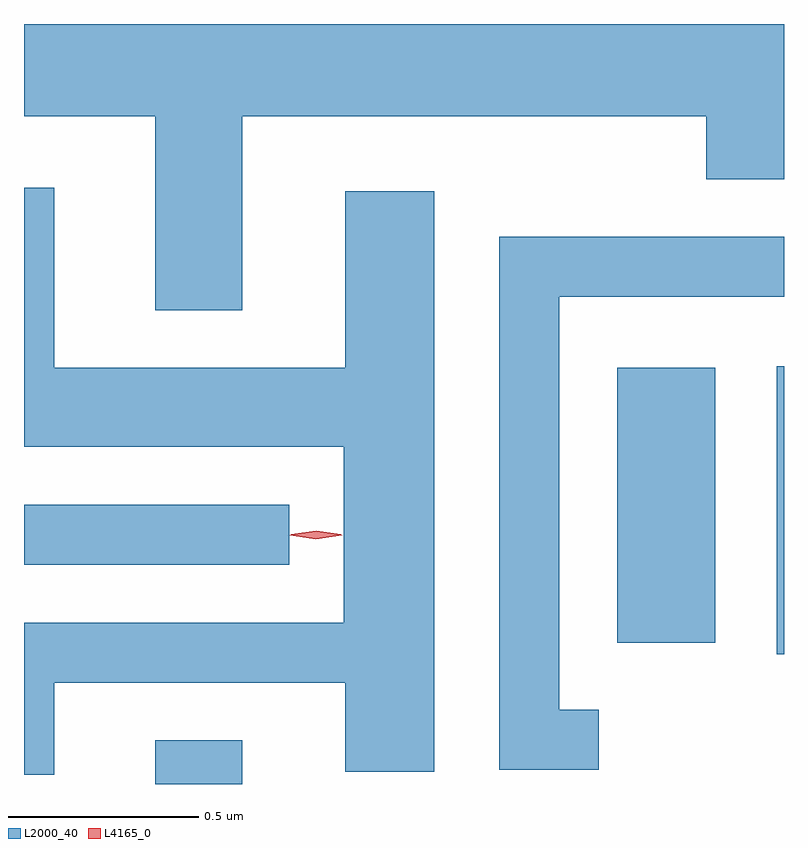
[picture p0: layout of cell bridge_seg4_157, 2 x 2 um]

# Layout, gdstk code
import gdstk
lib = gdstk.Library(unit=1e-6, precision=1e-09)
def R(c, l, rs):  # rectangles x0, y0, x1, y1
    for r in rs: c.add(gdstk.rectangle(r[:2], r[2:], *l))
def P(c, l, *ps):  # polygons
    for p in ps: c.add(gdstk.Polygon(p, *l))
L2000_40 = (2000, 40)
L4165_0 = (4165, 0)

bridge_seg4_157 = lib.new_cell('bridge_seg4_157')
R(bridge_seg4_157, L2000_40, [(780.121,1295.199,780.349,1295.314), (781.756,1295.541,781.775,1296.299), (781.336,1295.571,781.594,1296.294), (779.775,1295.776,780.473,1295.934)])
P(bridge_seg4_157, L2000_40, [(780.349,1296.956),(781.571,1296.956),(781.571,1296.791),(781.775,1296.791),(781.775,1297.199),(779.775,1297.199),(779.775,1296.956),(780.121,1296.956),(780.121,1296.446),(780.349,1296.446)],
  [(779.854,1295.466),(780.621,1295.466),(780.621,1295.231),(780.854,1295.231),(780.854,1296.759),(780.621,1296.759),(780.621,1296.294),(779.854,1296.294),(779.854,1296.768),(779.775,1296.768),(779.775,1296.086),(780.616,1296.086),(780.616,1295.624),(779.775,1295.624),(779.775,1295.223),(779.854,1295.223)],
  [(781.288,1295.394),(781.184,1295.394),(781.184,1296.481),(781.775,1296.481),(781.775,1296.639),(781.026,1296.639),(781.026,1295.236),(781.288,1295.236)])
P(bridge_seg4_157, L4165_0, [(780.543,1295.843),(780.474,1295.853),(780.474,1295.853),(780.474,1295.854),(780.543,1295.863),(780.612,1295.854),(780.613,1295.853),(780.612,1295.853)],
  [(780.544,1295.845),(780.478,1295.854),(780.477,1295.855),(780.478,1295.856),(780.544,1295.865),(780.609,1295.856),(780.61,1295.855),(780.609,1295.854)])

lib.write_gds('bridge_seg4_157.gds')
